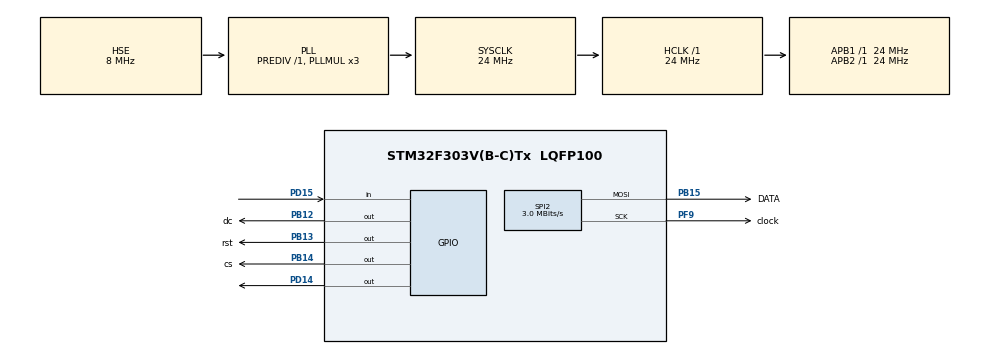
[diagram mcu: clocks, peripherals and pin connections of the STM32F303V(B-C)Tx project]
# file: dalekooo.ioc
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Mcu.Family=STM32F3
Mcu.Name=STM32F303V(B-C)Tx
Mcu.Package=LQFP100
NVIC.PriorityGroup=NVIC_PRIORITYGROUP_4
NVIC.TIM6_DAC_IRQn=true\:0\:0\:false\:false\:true\:true
PB12.GPIO_Label=dc
PB12.Signal=GPIO_Output
PB13.GPIO_Label=rst
PB13.Signal=GPIO_Output
PB14.GPIO_Label=cs
PB14.Signal=GPIO_Output
PB15.GPIO_Label=DATA
PB15.Mode=TX_Only_Simplex_Unidirect_Master
PB15.Signal=SPI2_MOSI
PC13.Mode=SYS_WakeUp1
PC13.Signal=SYS_WKUP2
PC14-OSC32_IN.Mode=LSE-External-Oscillator
PC14-OSC32_IN.Signal=RCC_OSC32_IN
PC15-OSC32_OUT.Mode=LSE-External-Oscillator
PC15-OSC32_OUT.Signal=RCC_OSC32_OUT
PD14.Signal=GPIO_Output
PD15.Signal=GPIO_Input
PF0-OSC_IN.Mode=HSE-External-Oscillator
PF0-OSC_IN.Signal=RCC_OSC_IN
PF1-OSC_OUT.Mode=HSE-External-Oscillator
PF1-OSC_OUT.Signal=RCC_OSC_OUT
PF9.GPIO_Label=clock
PF9.Mode=TX_Only_Simplex_Unidirect_Master
PF9.Signal=SPI2_SCK
ProjectManager.HeapSize=0x200
ProjectManager.StackSize=0x400
ProjectManager.TargetToolchain=SW4STM32
RCC.AHBFreq_Value=24000000
RCC.APB1Freq_Value=24000000
RCC.APB1TimFreq_Value=24000000
RCC.APB2Freq_Value=24000000
RCC.APB2TimFreq_Value=24000000
RCC.CortexFreq_Value=24000000
RCC.HCLKFreq_Value=24000000
RCC.HSE_VALUE=8000000
RCC.HSI_VALUE=8000000
RCC.PLLMUL=RCC_PLL_MUL3
RCC.PLLSourceVirtual=RCC_PLLSOURCE_HSE
RCC.SYSCLKFreq_VALUE=24000000
RCC.SYSCLKSourceVirtual=RCC_SYSCLKSOURCE_PLLCLK
RCC.USBFreq_Value=24000000
SPI2.BaudRatePrescaler=SPI_BAUDRATEPRESCALER_8
SPI2.CalculateBaudRate=3.0 MBits/s
SPI2.DataSize=SPI_DATASIZE_8BIT
SPI2.Direction=SPI_DIRECTION_2LINES
SPI2.Mode=SPI_MODE_MASTER
SPI2.VirtualType=VM_MASTER
TIM6.Period=10000
TIM6.Prescaler=63
VP_TIM6_VS_ClockSourceINT.Mode=Enable_Timer
board=custom

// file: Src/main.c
/**
  ******************************************************************************
  * @file           : main.c
  * @brief          : Main program body
  ******************************************************************************
  ** This notice applies to any and all portions of this file
  * that are not between comment pairs USER CODE BEGIN and
  * USER CODE END. Other portions of this file, whether
  * inserted by the user or by software development tools
  * are owned by their respective copyright owners.
  *
  * COPYRIGHT(c) 2018 STMicroelectronics
  *
  * Redistribution and use in source and binary forms, with or without modification,
  * are permitted provided that the following conditions are met:
  *   1. Redistributions of source code must retain the above copyright notice,
  *      this list of conditions and the following disclaimer.
  *   2. Redistributions in binary form must reproduce the above copyright notice,
  *      this list of conditions and the following disclaimer in the documentation
  *      and/or other materials provided with the distribution.
  *   3. Neither the name of STMicroelectronics nor the names of its contributors
  *      may be used to endorse or promote products derived from this software
  *      without specific prior written permission.
  *
  * THIS SOFTWARE IS PROVIDED BY THE COPYRIGHT HOLDERS AND CONTRIBUTORS "AS IS"
  * AND ANY EXPRESS OR IMPLIED WARRANTIES, INCLUDING, BUT NOT LIMITED TO, THE
  * IMPLIED WARRANTIES OF MERCHANTABILITY AND FITNESS FOR A PARTICULAR PURPOSE ARE
  * DISCLAIMED. IN NO EVENT SHALL THE COPYRIGHT HOLDER OR CONTRIBUTORS BE LIABLE
  * FOR ANY DIRECT, INDIRECT, INCIDENTAL, SPECIAL, EXEMPLARY, OR CONSEQUENTIAL
  * DAMAGES (INCLUDING, BUT NOT LIMITED TO, PROCUREMENT OF SUBSTITUTE GOODS OR
  * SERVICES; LOSS OF USE, DATA, OR PROFITS; OR BUSINESS INTERRUPTION) HOWEVER
  * CAUSED AND ON ANY THEORY OF LIABILITY, WHETHER IN CONTRACT, STRICT LIABILITY,
  * OR TORT (INCLUDING NEGLIGENCE OR OTHERWISE) ARISING IN ANY WAY OUT OF THE USE
  * OF THIS SOFTWARE, EVEN IF ADVISED OF THE POSSIBILITY OF SUCH DAMAGE.
  *
  ******************************************************************************
  */
#include "main.h"
#include "stm32f3xx_hal.h"
#include "spi.h"
#include "tim.h"
#include "gpio.h"

/* USER CODE BEGIN Includes */
#include "lcd5110.h"
#define SystemCoreClockInMHz (SystemCoreClock/1000000)

/* USER CODE END Includes */

/* USER CODE BEGIN PV */
/* Private variables ---------------------------------------------------------*/

/* USER CODE END PV */

void SystemClock_Config(void);

/* USER CODE BEGIN PFP */
/* Private function prototypes -----------------------------------------------*/

/* USER CODE END PFP */

/* USER CODE BEGIN 0 */
LCD5110_display lcd1;
volatile uint32_t tim6_overflows = 0;

void HAL_TIM_PeriodElapsedCallback(TIM_HandleTypeDef *htim)
{
  if( htim->Instance == TIM6 )
  {
   ++tim6_overflows;
  }
}
void TIM6_reinit()
{
 HAL_TIM_Base_Stop(&htim6);
 __HAL_TIM_SET_PRESCALER( &htim6, (SystemCoreClockInMHz-1) );
 __HAL_TIM_SET_COUNTER( &htim6, 0 );
 tim6_overflows = 0;
 HAL_TIM_Base_Start_IT(&htim6);
}
inline uint32_t get_tim6_us()
{
 __HAL_TIM_DISABLE_IT(&htim6, TIM_IT_UPDATE); //!
 //__disable_irq();
 uint32_t res = tim6_overflows * 10000 + __HAL_TIM_GET_COUNTER(&htim6);
 //__enable_irq();
 __HAL_TIM_ENABLE_IT(&htim6, TIM_IT_UPDATE);
 return res;
}
inline void udelay_TIM6(uint32_t useconds) {
 uint32_t before = get_tim6_us();
 while( get_tim6_us() < before+useconds){}
}
/* USER CODE END 0 */

int main(void)
{

  /* MCU Configuration----------------------------------------------------------*/

  /* Reset of all peripherals, Initializes the Flash interface and the Systick. */
  HAL_Init();

  /* Configure the system clock */
  SystemClock_Config();

  /* Initialize all configured peripherals */
  MX_GPIO_Init();
  MX_TIM6_Init();
  MX_SPI2_Init();
  TIM6_reinit();
  /* USER CODE BEGIN 2 */

    TIM6_reinit();
    lcd1.hw_conf.spi_handle = &hspi2;
        lcd1.hw_conf.spi_cs_pin =  cs_Pin;
        lcd1.hw_conf.spi_cs_port = cs_GPIO_Port;
        lcd1.hw_conf.rst_pin =  rst_Pin;
        lcd1.hw_conf.rst_port = rst_GPIO_Port;
        lcd1.hw_conf.dc_pin =  dc_Pin;
        lcd1.hw_conf.dc_port = dc_GPIO_Port;
        lcd1.def_scr = lcd5110_def_scr;
        LCD5110_init(&lcd1.hw_conf, LCD5110_NORMAL_MODE, 0x40, 2, 3);

  /* USER CODE END 2 */

  /* Infinite loop */
  /* USER CODE BEGIN WHILE */
  while (1)
  {
      int error_code = 0;
	  LCD5110_set_cursor(0, 0, &lcd1);

	  int t_state = HAL_GPIO_ReadPin(GPIOD, GPIO_PIN_14);
	     while(  t_state == GPIO_PIN_SET )
	     {
	      printf("Wrong state before triggering, Trig is high\n");
	      error_code = 1;
	      udelay_TIM6(300);
	     }
	     HAL_GPIO_WritePin(GPIOD, GPIO_PIN_14, GPIO_PIN_SET);
	     if ( HAL_GPIO_ReadPin(GPIOD, GPIO_PIN_14) != GPIO_PIN_SET )
	     {
	      printf("Line Trig do not went high while triggering.\n");
	      error_code = 2;
	      HAL_GPIO_WritePin(GPIOD, GPIO_PIN_14, GPIO_PIN_RESET);
	      udelay_TIM6(300);
	     }
	     udelay_TIM6(1600);
	     HAL_GPIO_WritePin(GPIOD, GPIO_PIN_14, GPIO_PIN_RESET);
	     if ( HAL_GPIO_ReadPin(GPIOD, GPIO_PIN_14) != GPIO_PIN_RESET )
	     {
	      printf("Line Trig do not went low after triggering.\n");
	      error_code = 3;
	      HAL_GPIO_WritePin(GPIOD, GPIO_PIN_14, GPIO_PIN_RESET);
	      udelay_TIM6(300);
	     }
	     if ( HAL_GPIO_ReadPin(GPIOD, GPIO_PIN_15) == GPIO_PIN_SET )
	     {
	      printf("Line ECHO is high too early.\n");
	      error_code = 4;
	      udelay_TIM6(300);
	     }

	     uint32_t watchdog_begin = get_tim6_us();
	     int didnt_had_1_at_echo = 0;
	     while(HAL_GPIO_ReadPin(GPIOD, GPIO_PIN_15) == GPIO_PIN_RESET )
	     {
	      if( get_tim6_us() - watchdog_begin > 500000 )
	      {
	       didnt_had_1_at_echo = 1;
	       break;
	      }
	     }
	     if(didnt_had_1_at_echo)
	     {
	      printf("Line ECHO didn't go high for a long time.\n");
	      error_code = 5;
	      udelay_TIM6(300);
	     }

	     uint32_t before = get_tim6_us();
	     int didnt_had_0_at_echo = 0;
	     while(HAL_GPIO_ReadPin(GPIOD, GPIO_PIN_15) == GPIO_PIN_SET )
	     {
	      if( get_tim6_us() - watchdog_begin > 500000 )
	      {
	       didnt_had_0_at_echo = 1;
	       break;
	      }
	     }
	     if(didnt_had_0_at_echo)
	     {
	      printf("Line ECHO didn't go low after echoing pulse stared for a long time.\n");
	      error_code = 6;
	      udelay_TIM6(300);
	     }

	     uint32_t pulse_time = (get_tim6_us()-before)/1000;
	     uint32_t distance = pulse_time*343/20;

	     if( distance > 500 )
	     {
	      printf("\tToo far -- possibly no echo at all.");
	      error_code = 7;
	      udelay_TIM6(300);
	     }

	     if(!error_code){
	     printf("Time: %lu us, distance: %lu cm\n",
	       pulse_time,
	       distance);
	     LCD5110_printf(&lcd1, BLACK, "Len: %lu cm\n", distance );}

	     else{LCD5110_printf(&lcd1, BLACK, "Error %lu\n", error_code); error_code = 0;}

		  udelay_TIM6(3000);

		  LCD5110_clear_str(0, 0, 83, WHITE, &lcd1);
		  LCD5110_set_cursor(0, 0, &lcd1);

//
//	     uint32_t pulse_time = (get_tim6_us()-before)/1000;
//	     char* d1[100];
//	     itoa(pulse_time,d1,10);
//	     char* d2[100];
//	     itoa(pulse_time*343/20, d2, 10);
//
//	     char s[100] = "Dick: ";
//	     strcat(s, d2);
//	     LCD5110_print(s, BLACK, &lcd1);
//	     printf("Time: %lu ms, distance: %lu cm\n", pulse_time, pulse_time*343/20);
  /* USER CODE END WHILE */

  }

}

void SystemClock_Config(void)
{

  RCC_OscInitTypeDef RCC_OscInitStruct;
  RCC_ClkInitTypeDef RCC_ClkInitStruct;

    /**Initializes the CPU, AHB and APB busses clocks
    */
  RCC_OscInitStruct.OscillatorType = RCC_OSCILLATORTYPE_HSE;
  RCC_OscInitStruct.HSEState = RCC_HSE_ON;
  RCC_OscInitStruct.HSEPredivValue = RCC_HSE_PREDIV_DIV1;
  RCC_OscInitStruct.HSIState = RCC_HSI_ON;
  RCC_OscInitStruct.PLL.PLLState = RCC_PLL_ON;
  RCC_OscInitStruct.PLL.PLLSource = RCC_PLLSOURCE_HSE;
  RCC_OscInitStruct.PLL.PLLMUL = RCC_PLL_MUL3;
  if (HAL_RCC_OscConfig(&RCC_OscInitStruct) != HAL_OK)
  {
    _Error_Handler(__FILE__, __LINE__);
  }

    /**Initializes the CPU, AHB and APB busses clocks
    */
  RCC_ClkInitStruct.ClockType = RCC_CLOCKTYPE_HCLK|RCC_CLOCKTYPE_SYSCLK
                              |RCC_CLOCKTYPE_PCLK1|RCC_CLOCKTYPE_PCLK2;
  RCC_ClkInitStruct.SYSCLKSource = RCC_SYSCLKSOURCE_PLLCLK;
  RCC_ClkInitStruct.AHBCLKDivider = RCC_SYSCLK_DIV1;
  RCC_ClkInitStruct.APB1CLKDivider = RCC_HCLK_DIV1;
  RCC_ClkInitStruct.APB2CLKDivider = RCC_HCLK_DIV1;

  if (HAL_RCC_ClockConfig(&RCC_ClkInitStruct, FLASH_LATENCY_0) != HAL_OK)
  {
    _Error_Handler(__FILE__, __LINE__);
  }

    /**Configure the Systick interrupt time
    */
  HAL_SYSTICK_Config(HAL_RCC_GetHCLKFreq()/1000);

    /**Configure the Systick
    */
  HAL_SYSTICK_CLKSourceConfig(SYSTICK_CLKSOURCE_HCLK);

  /* SysTick_IRQn interrupt configuration */
  HAL_NVIC_SetPriority(SysTick_IRQn, 0, 0);
}

void _Error_Handler(char *file, int line)
{
  while(1)
  {
  }
}

/************************ (C) COPYRIGHT STMicroelectronics *****END OF FILE****/
